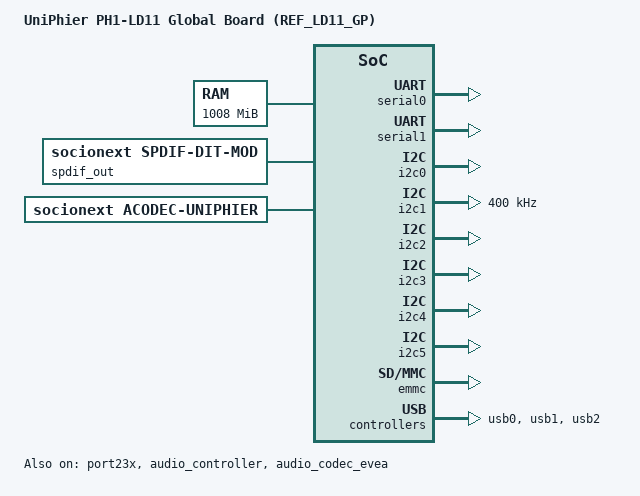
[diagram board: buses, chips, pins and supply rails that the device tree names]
/*
 * Device Tree Source for UniPhier PH1-LD11 Global Board
 *
 * Copyright (C) 2016 Masahiro Yamada <yamada.masahiro@socionext.com>
 *                    Kunihiko Hayashi <hayashi.kunihiko@socionext.com>
 *
 * This file is dual-licensed: you can use it either under the terms
 * of the GPL or the X11 license, at your option. Note that this dual
 * licensing only applies to this file, and not this project as a
 * whole.
 *
 *  a) This file is free software; you can redistribute it and/or
 *     modify it under the terms of the GNU General Public License as
 *     published by the Free Software Foundation; either version 2 of the
 *     License, or (at your option) any later version.
 *
 *     This file is distributed in the hope that it will be useful,
 *     but WITHOUT ANY WARRANTY; without even the implied warranty of
 *     MERCHANTABILITY or FITNESS FOR A PARTICULAR PURPOSE.  See the
 *     GNU General Public License for more details.
 *
 * Or, alternatively,
 *
 *  b) Permission is hereby granted, free of charge, to any person
 *     obtaining a copy of this software and associated documentation
 *     files (the "Software"), to deal in the Software without
 *     restriction, including without limitation the rights to use,
 *     copy, modify, merge, publish, distribute, sublicense, and/or
 *     sell copies of the Software, and to permit persons to whom the
 *     Software is furnished to do so, subject to the following
 *     conditions:
 *
 *     The above copyright notice and this permission notice shall be
 *     included in all copies or substantial portions of the Software.
 *
 *     THE SOFTWARE IS PROVIDED "AS IS", WITHOUT WARRANTY OF ANY KIND,
 *     EXPRESS OR IMPLIED, INCLUDING BUT NOT LIMITED TO THE WARRANTIES
 *     OF MERCHANTABILITY, FITNESS FOR A PARTICULAR PURPOSE AND
 *     NONINFRINGEMENT. IN NO EVENT SHALL THE AUTHORS OR COPYRIGHT
 *     HOLDERS BE LIABLE FOR ANY CLAIM, DAMAGES OR OTHER LIABILITY,
 *     WHETHER IN AN ACTION OF CONTRACT, TORT OR OTHERWISE, ARISING
 *     FROM, OUT OF OR IN CONNECTION WITH THE SOFTWARE OR THE USE OR
 *     OTHER DEALINGS IN THE SOFTWARE.
 */

/dts-v1/;
/include/ "uniphier-ph1-ld11.dtsi"
/include/ "uniphier-support-card.dtsi"
#include <dt-bindings/gpio/gpio.h>

/ {
	model = "UniPhier PH1-LD11 Global Board (REF_LD11_GP)";
	compatible = "socionext,ph1-ld11-global", "socionext,ph1-ld11";

	memory {
		device_type = "memory";
		reg = <0 0x81000000 0 0x3f000000>;
	};

	chosen {
		stdout-path = "serial0:115200n8";
		bootargs = "earlycon";
	};

	aliases {
		serial0 = &serial0;
		serial1 = &serial1;
		serial2 = &serialsc;
		serial3 = &serial3;
		i2c0 = &i2c0;
		i2c1 = &i2c1;
		i2c2 = &i2c2;
		i2c3 = &i2c3;
		i2c4 = &i2c4;
		i2c5 = &i2c5;
	};

	reserved-memory {
		#address-cells = <2>;
		#size-cells = <2>;
		ranges;

		dsp_boot_reserved: memory@0x80080000 {
			reg = <0 0x80080000 0 0x00080000>;
			no-map;
		};
		dsp_ucode_reserved: memory@0x80100000 {
			reg = <0 0x80100000 0 0x00700000>;
			no-map;
		};
		dsp_ucode_aq_reserved: memory@0x80800000 {
			reg = <0 0x80800000 0 0x00100000>;
			no-map;
		};
		dsp_ucode_sec_reserved: memory@0x80980000 {
			reg = <0 0x80980000 0 0x00100000>;
			no-map;
		};
		vio_reserved: memory@0x92000000 {
			reg = <0x0 0x92000000 0 0x02000000>;
			no-map;
		};
		ch0_reserved: memory@0x94000000 {
			reg = <0x0 0x94000000 0 0x02000000>;
			no-map;
		};
/*add for DTV(start)*/
		rtsc_reserved: memory@0x99000000 {
			reg = <0x0 0x99000000 0 0x04000000>;
			no-map;
		};
		hsc_reserved: memory@0x9d000000 {
			reg = <0x0 0x9d000000 0 0x00500000>;
			no-map;
		};
		pserv_reserved: memory@0x9d500000 {
			reg = <0x0 0x9d500000 0 0x013e0000>;
		};
		psera_reserved: memory@0x9e8e0000 {
			reg = <0x0 0x9e8e0000 0 0x00020000>;
			no-map;
		};
		iosd_reserved: memory@0x9e900000 {
			reg = <0x0 0x9e900000 0 0x10f4000>;
			no-map;
		};
/*add for DTV(end)*/
		media_reserved: memory@0xa0000000 {
			reg = <0x0 0xa0000000 0 0x08000000>;
			no-map;
		};
		ch1_reserved: memory@0xa8000000 {
			reg = <0x0 0xa8000000 0 0x02000000>;
			no-map;
		};
		fb_reserved: memory@0xaa000000 {
			reg = <0x0 0xaa000000 0 0x02000000>;
			no-map;
		};
		gpu_reserved: memory@0xb0000000 {
			reg = <0x0 0xb0000000 0 0x09000000>;
			no-map;
		};
		vpe_reserved: memory@0xb9000000 {
			reg = <0x0 0xb9000000 0 0x01000000>;
			no-map;
		};

	};

	framebuffer {
		compatible = "simple-framebuffer";
		reg = <0 0xaa000000 0 0x02000000>;
		width = <1920>;
		height = <1088>;
		stride = <7680>;
		format = "a8r8g8b8";
	};
};

&ethsc {
	interrupts = <0 52 4>;
};

&serialsc {
	interrupts = <0 52 4>;
};

&serial0 {
	status = "okay";
};

&serial1 {
	status = "okay";
};

&port23x {
	gpio-ranges = <&pinctrl 4 151 2>;
	status = "okay";
};

/*add for DTV(start)*/
&i2c0 {
	status = "okay";
};
&i2c1 {
	status = "okay";
	clock-frequency = <400000>;
};
&i2c2 {
	status = "okay";
};
&i2c3 {
	status = "okay";
};
&i2c4 {
	status = "okay";
};
&i2c5 {
	status = "okay";
};
/*add for DTV(end)*/

&emmc {
	status = "okay";
};

&usb0 {
	status = "okay";
};

&usb1 {
	status = "okay";
};

&usb2 {
	status = "okay";
};

&soc {
	ion-uniphier {
		compatible = "socionext,ion-uniphier";

		ion-fb-heap {
			compatible = "socionext,fb-heap", "linux,ion-heap-carveout";
			memory-region = <&fb_reserved>;
		};
		ion-vio-heap {
			compatible = "socionext,vio-heap", "linux,ion-heap-carveout";
			memory-region = <&vio_reserved>;
		};
		ion-ch0-heap {
			compatible = "socionext,ch0-heap", "linux,ion-heap-carveout";
			memory-region = <&ch0_reserved>;
		};
		ion-media-heap {
			compatible = "socionext,media-heap", "linux,ion-heap-carveout";
			memory-region = <&media_reserved>;
		};
		ion-ch1-heap {
			compatible = "socionext,ch1-heap", "linux,ion-heap-carveout";
			memory-region = <&ch1_reserved>;
		};
		ion-gpu-heap {
			compatible = "socionext,gpu-heap", "linux,ion-heap-carveout";
			memory-region = <&gpu_reserved>;
		};

	};
	vioglue: vioglue {
		compatible = "socionext,uniphier-vioglue";
		reg-names = "voc_voc", "voc_sg2", "voc_sc", "voc_heap",
		            "vpe_reg", "vpe_dtrcaiai", "vpe_heap", "exiv_reg", "exiv_voc", "exiv_hdmirx", "exiv_sg", "recs_reg";
		reg = <0x5F000000 0x800000>,
		      <0x5F800000 0x200000>,
		      <0x61840000 0x10000>,
		      <0x920C0000 0x30000>,
		      <0x5E000000 0x700>,
		      <0x6E210000 0x3400>,
		      <0x92000000 0xA0000>,
		      <0x57920000 0x1A000>,
		      <0x5F000000 0x0C000>,
		      <0x57940000 0x04000>,
		      <0x5F800000 0x02000>,
		      <0x6c000000 0x400000>;
		interrupt-names = "voc_vout7", "voc_vout5", "voc_vout4", "voc_vout3", "vpe", "exiv_vout6", "exiv_hdmi", "recs";
		interrupts = <0 117 4>,
					 <0 115 4>,
					 <0 114 4>,
					 <0 113 4>,
					 <0 110 4>,
					 <0 116 4>,
					 <0 72 4>,
					 <0 96 4>;
	};
	audio_controller: audio-controller@0x56000000 {
		#sound-dai-cells = <1>;
		compatible = "socionext,snd-uniphier-i2s-ld11";
		reg = <0x56000000 0x80000>;
		reg-names = "asoc-aud";

		pinctrl-0 = <&pinctrl_aout>;
		pinctrl-names = "default";
		status = "okay";
	};

	audio_codec_evea: audio-codec@0x57900000 {
		#sound-dai-cells = <1>;
		compatible = "socionext,evea";
		reg = <0x57900000 0x1000>;
		reg-names = "asoc-evea";

		status = "okay";
	};

	spdif_out: spdif-out {
		#sound-dai-cells = <0>;
		compatible = "socionext,spdif-dit-mod";

		status = "okay";
	};

	thru_out: thru-out {
		#sound-dai-cells = <0>;
		compatible = "socionext,thru-out";

		status = "okay";
	};

	sound {
		compatible = "simple-audio-card";
		simple-audio-card,name = "UniPhier LD11";
		status = "okay";

		simple-audio-card,dai-link@0 {
			/* Line in 1 */
			format = "i2s";
			cpu {
				sound-dai = <&audio_controller 0>;
			};
			codec {
				sound-dai = <&audio_codec_evea 0>;
			};
		};

		simple-audio-card,dai-link@1 {
			/* SPDIF */
			format = "i2s";
			cpu {
				sound-dai = <&audio_controller 1>;
			};
			codec {
				sound-dai = <&spdif_out>;
			};
		};

		simple-audio-card,dai-link@2 {
			/* Speaker */
			format = "i2s";
			cpu {
				sound-dai = <&audio_controller 2>;
			};
			codec {
				sound-dai = <&thru_out>;
			};
		};

		simple-audio-card,dai-link@3 {
			/* Line out 1 */
			format = "i2s";
			cpu {
				sound-dai = <&audio_controller 3>;
			};
			codec {
				sound-dai = <&audio_codec_evea 1>;
			};
		};

		simple-audio-card,dai-link@4 {
			/* Headphone */
			format = "i2s";
			cpu {
				sound-dai = <&audio_controller 4>;
			};
			codec {
				sound-dai = <&audio_codec_evea 2>;
			};
		};

		simple-audio-card,dai-link@5 {
			/* SRC0 */
			format = "i2s";
			cpu {
				sound-dai = <&audio_controller 5>;
			};
			codec {
				sound-dai = <&thru_out>;
			};
		};

		simple-audio-card,dai-link@6 {
			/* SRC1 */
			format = "i2s";
			cpu {
				sound-dai = <&audio_controller 6>;
			};
			codec {
				sound-dai = <&thru_out>;
			};
		};
	};

	dsp-uniphier {
		compatible = "socionext,dsp-uniphier-ld11";
		reg-names = "dsp-hcm", "dsp-intr",
			"dsp-dsp", "dsp-icr";
/* change for SDK AQ (common) */
		reg = <0x80900000 0x16000>, <0x50801000 0x1000>,
			<0x70080000 0x1000>, <0x70700000 0x200000>;
		interrupt-names = "dsp-cpueint0", "dsp-cpueint1", "dsp-cpueint2",
			"dsp-cpueint3", "dsp-cpueint4", "dsp-cpueint5";
		interrupts = <0 192 4>, <0 193 4>, <0 194 4>,
			<0 195 4>, <0 196 4>, <0 197 4>;
		ioreg-names = "dsp-aud", "dsp-sg",
			"dsp-sc";
		ioreg = <0x56007000 0x1000>, <0x5f800000 0x1000>,
			<0x61842000 0x1000>;
		dsp-boot {
			compatible = "socionext,ipp_boot";
			memory-region = <&dsp_boot_reserved>;
		};
		dsp-ucode {
			compatible = "socionext,ipp";
			memory-region = <&dsp_ucode_reserved>;
		};
		dsp-ucode_aq {
			compatible = "socionext,ipp_aq";
			memory-region = <&dsp_ucode_aq_reserved>;
		};
	};
	g2dec-uniphier {
		compatible = "socionext,g2dec-uniphier";
		reg = <0x5fc1f000 0x1000>;
		interrupts = <0 36 4>;
		clkreg = <0x61842114 0x1>;
		rstreg = <0x61842014 0x1>;
	};
	g1dec-uniphier {
		compatible = "socionext,g1dec-uniphier";
		reg = <0x6e211000 0x1000>;
		interrupts = <0 233 4>;
		clkreg = <0x61842114 0x0>;
		rstreg = <0x61842014 0x0>;
	};
	acodec-uniphier {
		compatible = "socionext,acodec-uniphier";
                hcm1 = <0x80900000 0x00002000 0x00000000 0x80901094>;
/* change for SDK AQ (common) start */
                hcm2 = <0x80902000 0x00014000 0x00001600 0x80902060>;
                hcm3 = <0x80902000 0x00014000 0x00001600 0x80903454>;
                hcm4 = <0x80902000 0x00014000 0x00001600 0x80903250>;
/* change for SDK AQ (common) end */
	};
	devglue {
		compatible = "socionext,devglue";
		reg-names = "voc_voc", "voc_sg2", "voc_sc", "voc_heap",
		            "vpe_reg", "vpe_dtrcaiai", "vpe_heap", "exiv_reg", "exiv_voc", "exiv_hdmirx", "exiv_sg", "recs_reg",
                    "stm_sg";
		reg = <0x5F000000 0x800000>,
		      <0x5F800000 0x200000>,
		      <0x61840000 0x10000>,
		      <0x920C0000 0x30000>,
		      <0x5E000000 0x1000>,
		      <0x6E210000 0x4000>,
		      <0x92000000 0xA0000>,
		      <0x57920000 0x1A000>,
		      <0x5F000000 0x0C000>,
		      <0x57940000 0x04000>,
		      <0x5F800000 0x02000>,
		      <0x6c000000 0x400000>,
		      <0x5F800000 0x80>;
		interrupt-names = "voc_vout7", "voc_vout5", "voc_vout4", "voc_vout3", "voc_vout2", "voc_vout1",
                          "vpe", "exiv_vout6", "exiv_hdmi", "recs", "icc", "hsc1", "hsc2", "hsc3", "stm", "exiv_vbi", "secbus";
		interrupts = <0 117 4>,
					 <0 115 4>,
					 <0 114 4>,
					 <0 113 4>,
					 <0 112 4>,
					 <0 109 4>,
					 <0 110 4>,
					 <0 116 4>,
					 <0 72 4>,
					 <0 96 4>,
					 <0 40 4>,
					 <0 100 4>,
					 <0 101 4>,
					 <0 102 4>,
					 <0 220 4>,
					 <0 160 4>,
					 <0 204 4>;
	};

	vio_rm {
		compatible = "socionext,vio_rm";
		memory-region = <&vio_reserved>;
		nrip-bufsize = <0x00800000>;
		vpe-nrip {
			compatible = "socionext,vpe-nrip";
			memory-region = <&vpe_reserved>;
		};
		vpe-fb {
			compatible = "socionext,vpe-fb";
			memory-region = <&fb_reserved>;
		};
	};
};
